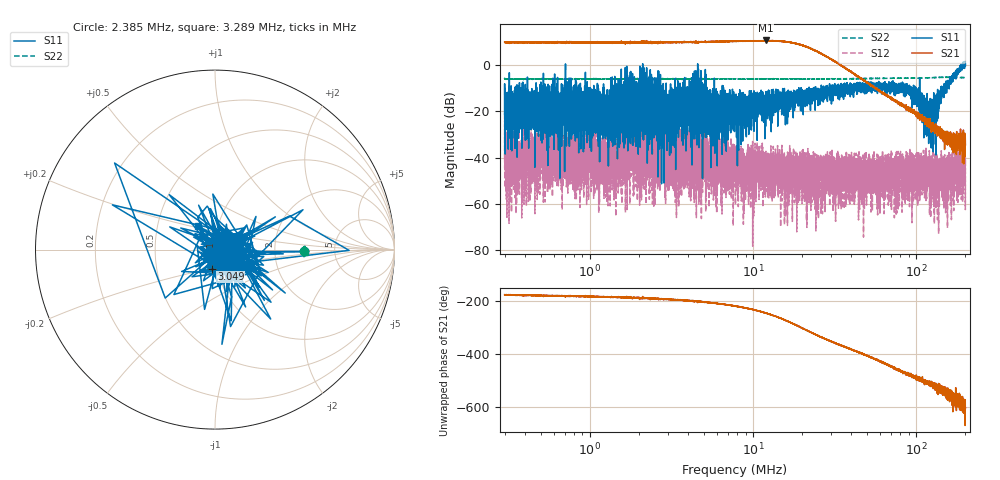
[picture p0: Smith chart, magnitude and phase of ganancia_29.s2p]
# Hz S DB R 50
! CMT, M5065, 19127446, 24.2.4/2
! Date: 11/1/2024 3:29:32 PM
! Data: Format (Calibration Info)
! Freq	S11:dB/Ang(F2)	S21:dB/Ang(F2)	S12:dB/Ang(F2)	S22:dB/Ang(F2)
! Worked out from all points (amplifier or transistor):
!   9000 points, 300 kHz to 200 MHz, reference 50 ohm
!   highest |S21| = 10.6 dB at 11.96 MHz (marker M1)
!   |S21| within 3 dB of that: start of sweep to 21.61 MHz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
!   unconditionally stable (mu >= 1): 2.416 MHz to 4.574 MHz; 4.578 MHz to 188.1 MHz; 189.6 MHz to 190.7 MHz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
!   at 886.8 kHz: K = 6.06, MAG = 11.0 dB, |S12| = -34.0 dB
!   at 7.749 MHz: K = 7.04, MAG = 11.6 dB, |S12| = -35.8 dB
!   at 200 MHz: K = -199.66, MSG = 3.0 dB, |S12| = -40.4 dB
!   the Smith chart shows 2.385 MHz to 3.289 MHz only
!   S11 on the Smith chart (normalised r, x): 2.385 MHz: 1.11, +0.17; 3.049 MHz: 0.94, -0.21; 3.289 MHz: 0.80, +0.22
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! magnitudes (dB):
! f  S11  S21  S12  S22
! 300 kHz  -21.5  9.9  -40.6  -6.0
! 381.3 kHz  -20.1  9.7  -57.3  -6.0
! 609.5 kHz  -13.7  9.8  -40.3  -6.0
! 650.9 kHz  -23.2  9.7  -37.0  -6.0
! 694.1 kHz  -11.4  9.6  -37.6  -6.0
! 886.8 kHz  -14.9  9.6  -34.0  -6.0
! 1.004 MHz  -19.4  9.7  -46.2  -6.0
! 1.648 MHz  -21.5  9.8  -41.6  -6.0
! 2.385 MHz  -20.1  9.7  -47.4  -6.1
! 2.621 MHz  -7.2  9.9  -24.8  -5.7
! 3.049 MHz  -19.2  9.9  -38.9  -6.0
! 3.289 MHz  -15.8  9.8  -37.4  -6.0
! 4.196 MHz  -8.5  10.1  -31.5  -6.1
! 7.749 MHz  -16.0  10.3  -35.8  -6.0
! 11.96 MHz  -12.7  10.6  -40.3  -5.9
! 22.91 MHz  -16.6  6.9  -59.2  -6.0
! 67.71 MHz  -8.5  -13.7  -46.6  -5.7
! 90.79 MHz  -12.1  -18.9  -40.4  -5.7
! 123.8 MHz  -24.9  -26.1  -42.7  -5.5
! 147.4 MHz  -11.0  -33.0  -42.6  -5.3
! 182.7 MHz  -2.5  -32.3  -38.7  -5.4
! 200 MHz  0.4  -34.4  -40.4  -5.4
